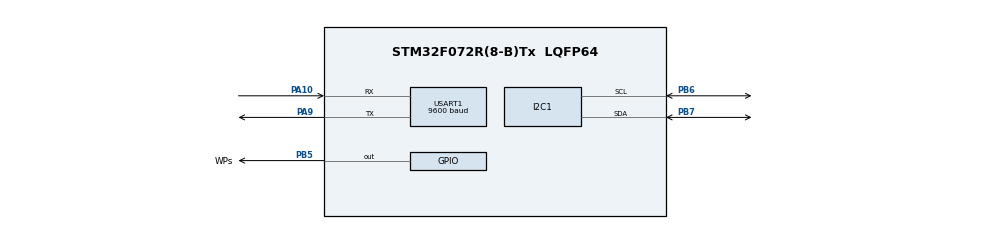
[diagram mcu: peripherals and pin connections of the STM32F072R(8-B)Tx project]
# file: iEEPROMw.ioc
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I2C1.Timing=0x00201D2B
Mcu.Family=STM32F0
Mcu.Name=STM32F072R(8-B)Tx
Mcu.Package=LQFP64
PA10.Mode=Asynchronous
PA10.Signal=USART1_RX
PA9.Mode=Asynchronous
PA9.Signal=USART1_TX
PB5.GPIO_Label=WPs
PB5.Signal=GPIO_Output
PB6.Mode=I2C
PB6.Signal=I2C1_SCL
PB7.Mode=I2C
PB7.Signal=I2C1_SDA
PF0-OSC_IN.Mode=HSE-External-Oscillator
PF0-OSC_IN.Signal=RCC_OSC_IN
PF1-OSC_OUT.Mode=HSE-External-Oscillator
PF1-OSC_OUT.Signal=RCC_OSC_OUT
ProjectManager.HeapSize=0x200
ProjectManager.StackSize=0x400
ProjectManager.TargetToolchain=STM32CubeIDE
USART1.BaudRate=9600
USART1.VirtualMode-Asynchronous=VM_ASYNC
board=custom

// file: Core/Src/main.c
/* USER CODE BEGIN Header */
/**
  ******************************************************************************
  * @file           : main.c
  * @brief          : Main program body
  ******************************************************************************
  * @attention
  *
  * Copyright (c) 2025 STMicroelectronics.
  * All rights reserved.
  *
  * This software is licensed under terms that can be found in the LICENSE file
  * in the root directory of this software component.
  * If no LICENSE file comes with this software, it is provided AS-IS.
  *
  ******************************************************************************
  */
/* USER CODE END Header */
#include "main.h"

/* USER CODE BEGIN Includes */
#include "EEPROM.h"
#include "z_i2c_eeprom.h"
/* USER CODE END Includes */

/* USER CODE BEGIN PD */

#define TS		0x0A00
#define TS_LEN	2
#define TS2     0x0B00
#define TS3     0x0C00

/* USER CODE END PD */

I2C_HandleTypeDef hi2c1;

UART_HandleTypeDef huart1;

/* USER CODE BEGIN PV */

// rxBuff is the last thing read from the EEPROM

char rxBuff1 = 0x00;
char rxBuff2 = 0x00;
char rxBuff3 = 0x00;

uint8_t result;

char pmo = 0x80;
char pmo1 = 0x85;
char pmo2 = 0x90;

char testValue = 0x88;
char readBack = 0x00;

uint16_t addr = 0x0A00;
uint16_t addr2 = 0x0B00;
uint16_t addr3 = 0x0C00;

/* USER CODE END PV */

void SystemClock_Config(void);
static void MX_GPIO_Init(void);
static void MX_USART1_UART_Init(void);
static void MX_I2C1_Init(void);
void I2C_Scan(void);

int main(void)
{

  /* MCU Configuration--------------------------------------------------------*/

  /* Reset of all peripherals, Initializes the Flash interface and the Systick. */
  HAL_Init();

  /* Configure the system clock */
  SystemClock_Config();

  /* Initialize all configured peripherals */
  MX_GPIO_Init();
  MX_USART1_UART_Init();
  MX_I2C1_Init();
  /* USER CODE BEGIN 2 */

  HAL_Delay(100);  // Allow time for EEPROM power-up

  /* USER CODE END 2 */

  /* Infinite loop */
  /* USER CODE BEGIN WHILE */

  while (1)
   {
      // Increment value for next write operation
      pmo++;
      pmo1++;
	  pmo2++;
      // Read from EEPROM

      for(int i = 0; i < TS_LEN; i++) {
               write_s_EEPROM(TS + i, &pmo);
               write_s_EEPROM(TS2 + i, &pmo1);
               write_s_EEPROM(TS3 + i, &pmo2);

      }

      HAL_Delay(10);  // Delay to allow debugging output

      // Write to EEPROM
      read_p_EEPROM(addr, &rxBuff1);
      read_p_EEPROM(addr2, &rxBuff2);
      read_p_EEPROM(addr3, &rxBuff3);

      // Add delay to ensure write completion before next read
      HAL_Delay(1000);  // Adjust delay if necessary
   }
}

    /* USER CODE END WHILE */

    /* USER CODE BEGIN 3 */

void I2C_Scan(void) {
    printf("Scanning I2C Bus...\r\n");
    for(uint8_t i = 0; i < 128; i++) {
        if(HAL_I2C_IsDeviceReady(&hi2c1, (i << 1), 3, HAL_MAX_DELAY) == HAL_OK) {
            printf("I2C device found at address: 0x%X\r\n", i << 1);
        }
    }
}
  /* USER CODE END 3 */

void SystemClock_Config(void)
{
  RCC_OscInitTypeDef RCC_OscInitStruct = {0};
  RCC_ClkInitTypeDef RCC_ClkInitStruct = {0};
  RCC_PeriphCLKInitTypeDef PeriphClkInit = {0};

  /** Initializes the RCC Oscillators according to the specified parameters
  * in the RCC_OscInitTypeDef structure.
  */
  RCC_OscInitStruct.OscillatorType = RCC_OSCILLATORTYPE_HSI;
  RCC_OscInitStruct.HSIState = RCC_HSI_ON;
  RCC_OscInitStruct.HSICalibrationValue = RCC_HSICALIBRATION_DEFAULT;
  RCC_OscInitStruct.PLL.PLLState = RCC_PLL_NONE;
  if (HAL_RCC_OscConfig(&RCC_OscInitStruct) != HAL_OK)
  {
    Error_Handler();
  }

  /** Initializes the CPU, AHB and APB buses clocks
  */
  RCC_ClkInitStruct.ClockType = RCC_CLOCKTYPE_HCLK|RCC_CLOCKTYPE_SYSCLK
                              |RCC_CLOCKTYPE_PCLK1;
  RCC_ClkInitStruct.SYSCLKSource = RCC_SYSCLKSOURCE_HSI;
  RCC_ClkInitStruct.AHBCLKDivider = RCC_SYSCLK_DIV1;
  RCC_ClkInitStruct.APB1CLKDivider = RCC_HCLK_DIV1;

  if (HAL_RCC_ClockConfig(&RCC_ClkInitStruct, FLASH_LATENCY_0) != HAL_OK)
  {
    Error_Handler();
  }
  PeriphClkInit.PeriphClockSelection = RCC_PERIPHCLK_USART1|RCC_PERIPHCLK_I2C1;
  PeriphClkInit.Usart1ClockSelection = RCC_USART1CLKSOURCE_PCLK1;
  PeriphClkInit.I2c1ClockSelection = RCC_I2C1CLKSOURCE_HSI;
  if (HAL_RCCEx_PeriphCLKConfig(&PeriphClkInit) != HAL_OK)
  {
    Error_Handler();
  }
}

static void MX_I2C1_Init(void)
{

  hi2c1.Instance = I2C1;
  hi2c1.Init.Timing = 0x00201D2B;
  hi2c1.Init.OwnAddress1 = 0;
  hi2c1.Init.AddressingMode = I2C_ADDRESSINGMODE_7BIT;
  hi2c1.Init.DualAddressMode = I2C_DUALADDRESS_DISABLE;
  hi2c1.Init.OwnAddress2 = 0;
  hi2c1.Init.OwnAddress2Masks = I2C_OA2_NOMASK;
  hi2c1.Init.GeneralCallMode = I2C_GENERALCALL_DISABLE;
  hi2c1.Init.NoStretchMode = I2C_NOSTRETCH_DISABLE;
  if (HAL_I2C_Init(&hi2c1) != HAL_OK)
  {
    Error_Handler();
  }

  /** Configure Analogue filter
  */
  if (HAL_I2CEx_ConfigAnalogFilter(&hi2c1, I2C_ANALOGFILTER_ENABLE) != HAL_OK)
  {
    Error_Handler();
  }

  /** Configure Digital filter
  */
  if (HAL_I2CEx_ConfigDigitalFilter(&hi2c1, 0) != HAL_OK)
  {
    Error_Handler();
  }

}

static void MX_USART1_UART_Init(void)
{

  huart1.Instance = USART1;
  huart1.Init.BaudRate = 9600;
  huart1.Init.WordLength = UART_WORDLENGTH_8B;
  huart1.Init.StopBits = UART_STOPBITS_1;
  huart1.Init.Parity = UART_PARITY_NONE;
  huart1.Init.Mode = UART_MODE_TX_RX;
  huart1.Init.HwFlowCtl = UART_HWCONTROL_NONE;
  huart1.Init.OverSampling = UART_OVERSAMPLING_16;
  huart1.Init.OneBitSampling = UART_ONE_BIT_SAMPLE_DISABLE;
  huart1.AdvancedInit.AdvFeatureInit = UART_ADVFEATURE_NO_INIT;
  if (HAL_UART_Init(&huart1) != HAL_OK)
  {
    Error_Handler();
  }

}

static void MX_GPIO_Init(void)
{
  GPIO_InitTypeDef GPIO_InitStruct = {0};

  /* GPIO Ports Clock Enable */
  __HAL_RCC_GPIOF_CLK_ENABLE();
  __HAL_RCC_GPIOA_CLK_ENABLE();
  __HAL_RCC_GPIOB_CLK_ENABLE();

  /*Configure GPIO pin Output Level */
  HAL_GPIO_WritePin(WPs_GPIO_Port, WPs_Pin, GPIO_PIN_RESET);

  /*Configure GPIO pin : WPs_Pin */
  GPIO_InitStruct.Pin = WPs_Pin;
  GPIO_InitStruct.Mode = GPIO_MODE_OUTPUT_PP;
  GPIO_InitStruct.Pull = GPIO_NOPULL;
  GPIO_InitStruct.Speed = GPIO_SPEED_FREQ_LOW;
  HAL_GPIO_Init(WPs_GPIO_Port, &GPIO_InitStruct);

}

void Error_Handler(void)
{
  __disable_irq();
  while (1)
  {
  }
}
